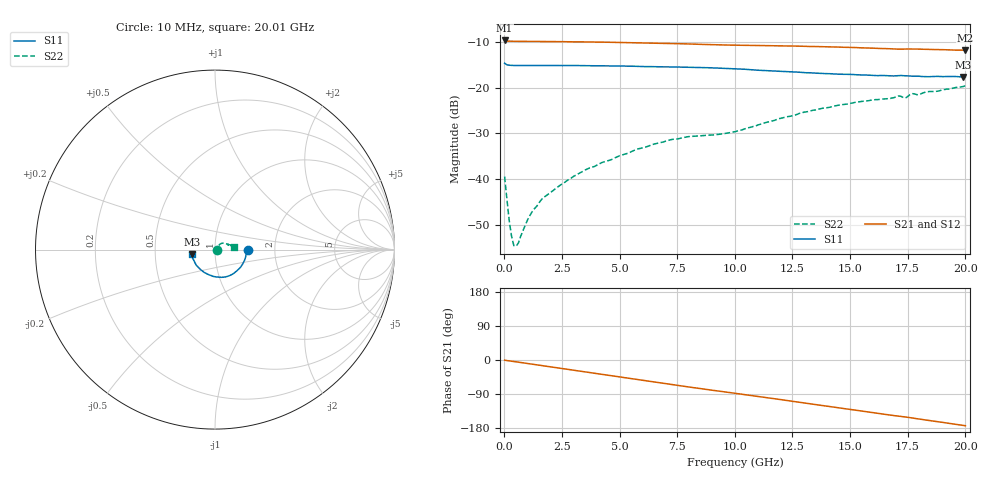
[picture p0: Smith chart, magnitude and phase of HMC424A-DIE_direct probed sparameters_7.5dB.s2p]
!s2p File: Measurements: S11, S21, S12, S22
# GHz S dB R 50.0
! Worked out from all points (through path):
!   201 points, 10 MHz to 20.01 GHz, reference 50 ohm
!   highest |S21| = -9.64 dB at 10 MHz (marker M1); lowest = -11.8 dB at 20.01 GHz (marker M2)
!   group delay of S21, straight-line fit = 23.9 ps
!   lowest |S11| = -17.6 dB at 19.91 GHz (marker M3), VSWR 1.30, Z = 38.5 - j1.99 ohm
!   |S11| at or under -10 dB: start of sweep to end of sweep
!   |S22| runs from -54.7 to -19.6 dB; largest |S21 - S12| = 0.0019
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0.01  -14.63 -1.0  -9.64 -0.3  -9.64 -0.4  -39.45 -7.2
0.21  -15.07 -2.3  -9.80 -2.3  -9.80 -2.3  -49.11 -40.3
0.31  -15.10 -2.7  -9.81 -3.1  -9.81 -3.1  -52.47 -26.6
0.41  -15.12 -3.2  -9.82 -4.0  -9.82 -4.0  -54.58 -7.1
0.51  -15.12 -3.7  -9.83 -4.8  -9.83 -4.8  -54.70 14.0
0.61  -15.13 -4.2  -9.83 -5.7  -9.83 -5.7  -54.01 31.3
1.11  -15.13 -7.1  -9.85 -10.2  -9.84 -10.2  -47.95 60.0
1.61  -15.13 -10.3  -9.87 -14.6  -9.86 -14.6  -44.49 65.3
2.41  -15.12 -15.7  -9.90 -21.8  -9.90 -21.8  -41.39 65.8
3.41  -15.16 -22.2  -9.96 -30.6  -9.96 -30.7  -38.30 66.2
5.01  -15.23 -33.3  -10.06 -44.9  -10.07 -44.9  -34.87 63.1
6.71  -15.41 -45.3  -10.23 -59.9  -10.24 -59.9  -32.08 56.1
8.01  -15.49 -55.0  -10.41 -71.3  -10.42 -71.3  -30.69 49.0
10.01  -15.83 -72.2  -10.67 -87.8  -10.68 -87.8  -29.62 47.5
13.41  -16.76 -101.8  -10.96 -116.8  -10.98 -116.7  -24.91 39.1
16.71  -17.37 -134.4  -11.45 -145.0  -11.44 -144.9  -22.42 22.0
17.11  -17.35 -138.1  -11.55 -148.2  -11.49 -148.2  -21.79 20.1
17.41  -17.38 -141.8  -11.52 -150.4  -11.53 -150.7  -22.27 19.8
17.71  -17.46 -144.6  -11.50 -153.1  -11.54 -153.1  -21.29 18.2
18.01  -17.48 -148.0  -11.55 -155.9  -11.58 -155.7  -21.50 17.6
19.91  -17.63 -168.9  -11.77 -172.5  -11.78 -172.3  -19.73 9.7
20.01  -17.62 -169.8  -11.81 -173.4  -11.78 -173.2  -19.58 9.1
